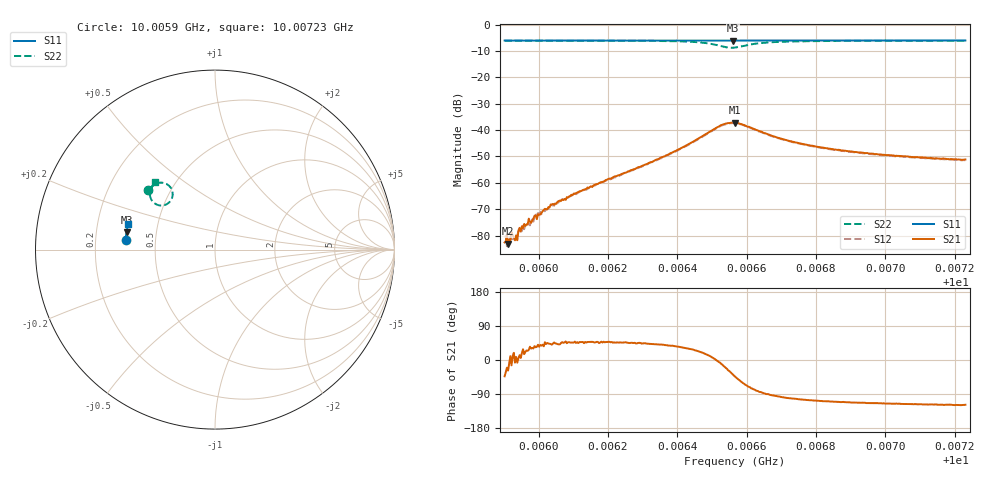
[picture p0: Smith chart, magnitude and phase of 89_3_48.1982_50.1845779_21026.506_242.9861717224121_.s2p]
#  HZ  S  RI  R  50.00
! Rohde & Schwarz Vector Network Analyzer
! Rohde-Schwarz,ZNB20-2Port,1311601062101988,3.16
! Created: UTC 3/20/2024, 11:40:01 AM
! freq[Hz]  re:S11  im:S11  re:S21  im:S21  re:S12  im:S12  re:S22  im:S22
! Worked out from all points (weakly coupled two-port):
!   401 points, 10.0059 GHz to 10.00723 GHz, reference 50 ohm
!   highest |S21| = -37.12 dB at 10.00657 GHz (marker M1); lowest = -83.1 dB at 10.00591 GHz (marker M2)
!   lowest |S11| = -6.0 dB at 10.00656 GHz (marker M3), VSWR 3.01, Z = 16.8 + j4.38 ohm
!   |S11| at or under -10 dB: nowhere
!   |S22| runs from -8.7 to -6.0 dB; largest |S21 - S12| = 0.00099
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1.0005902e10  -0.4983 0.0561  5.4e-05 -5.03e-05  7.14e-05 -5.78e-05  -0.3717 0.3317
1.0005912e10  -0.4982 0.0568  6.17e-05 -3.27e-05  7.83e-05 -3.15e-05  -0.3711 0.3325
1.0005932e10  -0.498 0.0581  8.05e-05 -9.91e-06  8.01e-05 2.66e-05  -0.37 0.3336
1.0005949e10  -0.4981 0.0592  0.000119 1.11e-05  0.000108 4.86e-05  -0.369 0.3348
1.0005965e10  -0.498 0.0604  0.000146 6.88e-05  0.000158 5.79e-05  -0.368 0.3359
1.0005979e10  -0.4978 0.0612  0.000151 8.73e-05  0.000173 8.55e-05  -0.3673 0.3368
1.0005998e10  -0.4977 0.0625  0.000195 0.000164  0.000217 0.000158  -0.366 0.338
1.0006035e10  -0.4973 0.0649  0.000287 0.000261  0.000237 0.000241  -0.3638 0.3406
1.0006072e10  -0.4971 0.0672  0.000331 0.000333  0.000328 0.000367  -0.3612 0.3432
1.0006125e10  -0.4968 0.0708  0.000483 0.000519  0.000449 0.000541  -0.3572 0.3471
1.0006347e10  -0.4949 0.0852  0.00216 0.00186  0.00206 0.00193  -0.3286 0.3671
1.0006421e10  -0.494 0.09  0.00415 0.0026  0.00393 0.00276  -0.3052 0.3728
1.0006484e10  -0.493 0.0941  0.0082 0.00224  0.00789 0.00254  -0.2649 0.3627
1.000653e10  -0.492 0.0967  0.0124 -0.00268  0.0121 -0.00206  -0.2356 0.3089
1.000656e10  -0.4915 0.0979  0.011 -0.00855  0.0112 -0.00777  -0.2601 0.2589
1.0006567e10  -0.4917 0.0983  0.0101 -0.00958  0.0102 -0.00866  -0.2709 0.252
1.000664e10  -0.4918 0.1026  0.000935 -0.0094  0.0014 -0.00919  -0.3537 0.2767
1.0006703e10  -0.4914 0.1069  -0.000959 -0.00672  -0.000587 -0.00663  -0.3628 0.3089
1.0006789e10  -0.4903 0.1125  -0.00144 -0.00485  -0.00119 -0.00481  -0.3591 0.332
1.0006889e10  -0.489 0.119  -0.00145 -0.00373  -0.00126 -0.00376  -0.3523 0.347
1.0007012e10  -0.4874 0.1268  -0.00141 -0.00303  -0.00125 -0.00302  -0.3445 0.359
1.0007231e10  -0.4841 0.1406  -0.00131 -0.00244  -0.00116 -0.0024  -0.3318 0.3745
